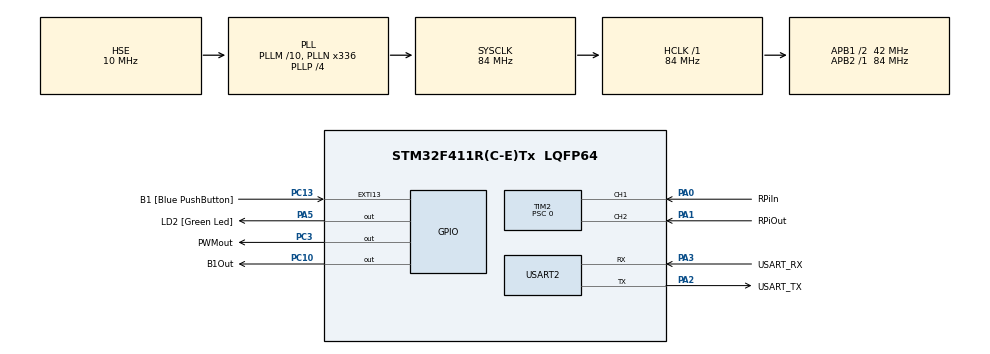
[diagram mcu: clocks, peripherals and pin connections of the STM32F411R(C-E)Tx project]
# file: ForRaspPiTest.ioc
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FREERTOS.Tasks01=defaultTask,24,128,StartDefaultTask,Default,NULL,Dynamic,NULL,NULL
FREERTOS.configENABLE_FPU=1
Mcu.Family=STM32F4
Mcu.Name=STM32F411R(C-E)Tx
Mcu.Package=LQFP64
NVIC.EXTI15_10_IRQn=true\:5\:0\:false\:false\:true\:true\:true\:true
NVIC.PriorityGroup=NVIC_PRIORITYGROUP_4
NVIC.TIM1_TRG_COM_TIM11_IRQn=true\:5\:0\:false\:false\:true\:true\:false\:true
NVIC.TIM2_IRQn=true\:5\:0\:false\:false\:true\:true\:true\:true
NVIC.TimeBase=TIM1_TRG_COM_TIM11_IRQn
NVIC.TimeBaseIP=TIM11
PA0-WKUP.GPIO_Label=RPiIn
PA0-WKUP.Signal=S_TIM2_CH1_ETR
PA1.GPIO_Label=RPiOut
PA1.Signal=S_TIM2_CH2
PA13.GPIO_Label=TMS
PA13.Mode=Serial_Wire
PA13.Signal=SYS_JTMS-SWDIO
PA14.GPIO_Label=TCK
PA14.Mode=Serial_Wire
PA14.Signal=SYS_JTCK-SWCLK
PA2.GPIO_Label=USART_TX
PA2.Mode=Asynchronous
PA2.Signal=USART2_TX
PA3.GPIO_Label=USART_RX
PA3.Mode=Asynchronous
PA3.Signal=USART2_RX
PA5.GPIO_Label=LD2 [Green Led]
PA5.Signal=GPIO_Output
PB3.GPIO_Label=SWO
PB3.Signal=SYS_JTDO-SWO
PC10.GPIO_Label=B1Out
PC10.PinState=GPIO_PIN_RESET
PC10.Signal=GPIO_Output
PC13-ANTI_TAMP.GPIO_Label=B1 [Blue PushButton]
PC13-ANTI_TAMP.GPIO_ModeDefaultEXTI=GPIO_MODE_IT_FALLING
PC13-ANTI_TAMP.Signal=GPXTI13
PC14-OSC32_IN.Mode=LSE-External-Oscillator
PC14-OSC32_IN.Signal=RCC_OSC32_IN
PC15-OSC32_OUT.Mode=LSE-External-Oscillator
PC15-OSC32_OUT.Signal=RCC_OSC32_OUT
PC3.GPIO_Label=PWMout
PC3.Signal=GPIO_Output
PH0\ -\ OSC_IN.Mode=HSE-External-Oscillator
PH0\ -\ OSC_IN.Signal=RCC_OSC_IN
PH1\ -\ OSC_OUT.Mode=HSE-External-Oscillator
PH1\ -\ OSC_OUT.Signal=RCC_OSC_OUT
ProjectManager.HeapSize=0x200
ProjectManager.StackSize=0x400
ProjectManager.TargetToolchain=STM32CubeIDE
RCC.48MHZClocksFreq_Value=84000000
RCC.AHBFreq_Value=84000000
RCC.APB1CLKDivider=RCC_HCLK_DIV2
RCC.APB1Freq_Value=42000000
RCC.APB1TimFreq_Value=84000000
RCC.APB2Freq_Value=84000000
RCC.APB2TimFreq_Value=84000000
RCC.CortexFreq_Value=84000000
RCC.FLatency-AdvancedSettings=FLASH_LATENCY_2
RCC.HCLKFreq_Value=84000000
RCC.HSE_VALUE=10000000
RCC.HSI_VALUE=16000000
RCC.PLLM=10
RCC.PLLN=336
RCC.PLLP=RCC_PLLP_DIV4
RCC.PLLSourceVirtual=RCC_PLLSOURCE_HSE
RCC.SYSCLKFreq_VALUE=84000000
RCC.SYSCLKSource=RCC_SYSCLKSOURCE_PLLCLK
RCC.VCOOutputFreq_Value=336000000
SH.S_TIM2_CH1_ETR.0=TIM2_CH1,Input_Capture1_from_TI1
SH.S_TIM2_CH2.0=TIM2_CH2,Input_Capture2_from_TI2
TIM2.Channel-Input_Capture1_from_TI1=TIM_CHANNEL_1
TIM2.Channel-Input_Capture2_from_TI2=TIM_CHANNEL_2
TIM2.ICFilter_CH1=15
TIM2.ICFilter_CH2=15
TIM2.ICPolarity_CH1=TIM_INPUTCHANNELPOLARITY_BOTHEDGE
TIM2.ICPolarity_CH2=TIM_INPUTCHANNELPOLARITY_BOTHEDGE
TIM2.Prescaler=0
USART2.VirtualMode=VM_ASYNC
VP_FREERTOS_VS_CMSIS_V2.Mode=CMSIS_V2
VP_SYS_VS_tim11.Mode=TIM11
VP_TIM2_VS_ClockSourceINT.Mode=Internal
board=NUCLEO-F411RE

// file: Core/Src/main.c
/* USER CODE BEGIN Header */
/**
  ******************************************************************************
  * @file           : main.c
  * @brief          : Main program body
  ******************************************************************************
  * @attention
  *
  * <h2><center>&copy; Copyright (c) 2021 STMicroelectronics.
  * All rights reserved.</center></h2>
  *
  * This software component is licensed by ST under BSD 3-Clause license,
  * the "License"; You may not use this file except in compliance with the
  * License. You may obtain a copy of the License at:
  *                        opensource.org/licenses/BSD-3-Clause
  *
  ******************************************************************************
  */
/* USER CODE END Header */
#include "main.h"
#include "cmsis_os.h"
#include "Math.h"

/* USER CODE BEGIN PD */
#define CHATA_REMOVE_TIME 10

/* USER CODE END PD */

TIM_HandleTypeDef htim2;

UART_HandleTypeDef huart2;

/* Definitions for defaultTask */
osThreadId_t defaultTaskHandle;
const osThreadAttr_t defaultTask_attributes = {
  .name = "defaultTask",
  .stack_size = 128 * 4,
  .priority = (osPriority_t) osPriorityNormal,
};
/* USER CODE BEGIN PV */
uint8_t b1ChataRemoveCount;
uint32_t startTime;
uint32_t endTime;
#define MEASURE_COUNT_MAX 100
double responseTime[MEASURE_COUNT_MAX];
double responseTimeSum;
double responseTimeAvg;
uint8_t measureCount;

double responseTimeSigma;

/* USER CODE END PV */

void SystemClock_Config(void);
static void MX_GPIO_Init(void);
static void MX_USART2_UART_Init(void);
static void MX_TIM2_Init(void);
void StartDefaultTask(void *argument);

int main(void)
{

  /* MCU Configuration--------------------------------------------------------*/

  /* Reset of all peripherals, Initializes the Flash interface and the Systick. */
  HAL_Init();

  /* Configure the system clock */
  SystemClock_Config();

  /* Initialize all configured peripherals */
  MX_GPIO_Init();
  MX_USART2_UART_Init();
  MX_TIM2_Init();
  /* USER CODE BEGIN 2 */
  b1ChataRemoveCount = 0;
  measureCount = 0;
  responseTimeSum = 0;

  HAL_TIM_IC_Start_IT(&htim2, TIM_CHANNEL_1);
  HAL_TIM_IC_Start_IT(&htim2, TIM_CHANNEL_2);

  /* USER CODE END 2 */

  /* Init scheduler */
  osKernelInitialize();

  /* Create the thread(s) */
  /* creation of defaultTask */
  defaultTaskHandle = osThreadNew(StartDefaultTask, NULL, &defaultTask_attributes);

  /* Start scheduler */
  osKernelStart();

  /* We should never get here as control is now taken by the scheduler */
  /* Infinite loop */
  while (1)
  {

  }
}

void SystemClock_Config(void)
{
  RCC_OscInitTypeDef RCC_OscInitStruct = {0};
  RCC_ClkInitTypeDef RCC_ClkInitStruct = {0};

  /** Configure the main internal regulator output voltage
  */
  __HAL_RCC_PWR_CLK_ENABLE();
  __HAL_PWR_VOLTAGESCALING_CONFIG(PWR_REGULATOR_VOLTAGE_SCALE1);
  /** Initializes the RCC Oscillators according to the specified parameters
  * in the RCC_OscInitTypeDef structure.
  */
  RCC_OscInitStruct.OscillatorType = RCC_OSCILLATORTYPE_HSE;
  RCC_OscInitStruct.HSEState = RCC_HSE_ON;
  RCC_OscInitStruct.PLL.PLLState = RCC_PLL_ON;
  RCC_OscInitStruct.PLL.PLLSource = RCC_PLLSOURCE_HSE;
  RCC_OscInitStruct.PLL.PLLM = 10;
  RCC_OscInitStruct.PLL.PLLN = 336;
  RCC_OscInitStruct.PLL.PLLP = RCC_PLLP_DIV4;
  RCC_OscInitStruct.PLL.PLLQ = 4;
  if (HAL_RCC_OscConfig(&RCC_OscInitStruct) != HAL_OK)
  {
    Error_Handler();
  }
  /** Initializes the CPU, AHB and APB buses clocks
  */
  RCC_ClkInitStruct.ClockType = RCC_CLOCKTYPE_HCLK|RCC_CLOCKTYPE_SYSCLK
                              |RCC_CLOCKTYPE_PCLK1|RCC_CLOCKTYPE_PCLK2;
  RCC_ClkInitStruct.SYSCLKSource = RCC_SYSCLKSOURCE_PLLCLK;
  RCC_ClkInitStruct.AHBCLKDivider = RCC_SYSCLK_DIV1;
  RCC_ClkInitStruct.APB1CLKDivider = RCC_HCLK_DIV2;
  RCC_ClkInitStruct.APB2CLKDivider = RCC_HCLK_DIV1;

  if (HAL_RCC_ClockConfig(&RCC_ClkInitStruct, FLASH_LATENCY_2) != HAL_OK)
  {
    Error_Handler();
  }
}

static void MX_TIM2_Init(void)
{

  TIM_ClockConfigTypeDef sClockSourceConfig = {0};
  TIM_MasterConfigTypeDef sMasterConfig = {0};
  TIM_IC_InitTypeDef sConfigIC = {0};

  htim2.Instance = TIM2;
  htim2.Init.Prescaler = 0;
  htim2.Init.CounterMode = TIM_COUNTERMODE_UP;
  htim2.Init.Period = 4294967295;
  htim2.Init.ClockDivision = TIM_CLOCKDIVISION_DIV1;
  htim2.Init.AutoReloadPreload = TIM_AUTORELOAD_PRELOAD_DISABLE;
  if (HAL_TIM_Base_Init(&htim2) != HAL_OK)
  {
    Error_Handler();
  }
  sClockSourceConfig.ClockSource = TIM_CLOCKSOURCE_INTERNAL;
  if (HAL_TIM_ConfigClockSource(&htim2, &sClockSourceConfig) != HAL_OK)
  {
    Error_Handler();
  }
  if (HAL_TIM_IC_Init(&htim2) != HAL_OK)
  {
    Error_Handler();
  }
  sMasterConfig.MasterOutputTrigger = TIM_TRGO_RESET;
  sMasterConfig.MasterSlaveMode = TIM_MASTERSLAVEMODE_DISABLE;
  if (HAL_TIMEx_MasterConfigSynchronization(&htim2, &sMasterConfig) != HAL_OK)
  {
    Error_Handler();
  }
  sConfigIC.ICPolarity = TIM_INPUTCHANNELPOLARITY_BOTHEDGE;
  sConfigIC.ICSelection = TIM_ICSELECTION_DIRECTTI;
  sConfigIC.ICPrescaler = TIM_ICPSC_DIV1;
  sConfigIC.ICFilter = 15;
  if (HAL_TIM_IC_ConfigChannel(&htim2, &sConfigIC, TIM_CHANNEL_1) != HAL_OK)
  {
    Error_Handler();
  }
  if (HAL_TIM_IC_ConfigChannel(&htim2, &sConfigIC, TIM_CHANNEL_2) != HAL_OK)
  {
    Error_Handler();
  }

}

static void MX_USART2_UART_Init(void)
{

  huart2.Instance = USART2;
  huart2.Init.BaudRate = 115200;
  huart2.Init.WordLength = UART_WORDLENGTH_8B;
  huart2.Init.StopBits = UART_STOPBITS_1;
  huart2.Init.Parity = UART_PARITY_NONE;
  huart2.Init.Mode = UART_MODE_TX_RX;
  huart2.Init.HwFlowCtl = UART_HWCONTROL_NONE;
  huart2.Init.OverSampling = UART_OVERSAMPLING_16;
  if (HAL_UART_Init(&huart2) != HAL_OK)
  {
    Error_Handler();
  }

}

static void MX_GPIO_Init(void)
{
  GPIO_InitTypeDef GPIO_InitStruct = {0};

  /* GPIO Ports Clock Enable */
  __HAL_RCC_GPIOC_CLK_ENABLE();
  __HAL_RCC_GPIOH_CLK_ENABLE();
  __HAL_RCC_GPIOA_CLK_ENABLE();
  __HAL_RCC_GPIOB_CLK_ENABLE();

  /*Configure GPIO pin Output Level */
  HAL_GPIO_WritePin(GPIOC, PWMout_Pin|B1Out_Pin, GPIO_PIN_RESET);

  /*Configure GPIO pin Output Level */
  HAL_GPIO_WritePin(LD2_GPIO_Port, LD2_Pin, GPIO_PIN_RESET);

  /*Configure GPIO pin : B1_Pin */
  GPIO_InitStruct.Pin = B1_Pin;
  GPIO_InitStruct.Mode = GPIO_MODE_IT_FALLING;
  GPIO_InitStruct.Pull = GPIO_NOPULL;
  HAL_GPIO_Init(B1_GPIO_Port, &GPIO_InitStruct);

  /*Configure GPIO pins : PWMout_Pin B1Out_Pin */
  GPIO_InitStruct.Pin = PWMout_Pin|B1Out_Pin;
  GPIO_InitStruct.Mode = GPIO_MODE_OUTPUT_PP;
  GPIO_InitStruct.Pull = GPIO_NOPULL;
  GPIO_InitStruct.Speed = GPIO_SPEED_FREQ_LOW;
  HAL_GPIO_Init(GPIOC, &GPIO_InitStruct);

  /*Configure GPIO pin : LD2_Pin */
  GPIO_InitStruct.Pin = LD2_Pin;
  GPIO_InitStruct.Mode = GPIO_MODE_OUTPUT_PP;
  GPIO_InitStruct.Pull = GPIO_NOPULL;
  GPIO_InitStruct.Speed = GPIO_SPEED_FREQ_LOW;
  HAL_GPIO_Init(LD2_GPIO_Port, &GPIO_InitStruct);

  /* EXTI interrupt init*/
  HAL_NVIC_SetPriority(EXTI15_10_IRQn, 5, 0);
  HAL_NVIC_EnableIRQ(EXTI15_10_IRQn);

}

/* USER CODE BEGIN 4 */
void HAL_GPIO_EXTI_Callback(uint16_t GPIO_Pin)
{
	switch(GPIO_Pin)
	{
	case B1_Pin:
		b1ChataRemoveCount = CHATA_REMOVE_TIME;
		break;
	default:
		break;
	}
}

void HAL_TIM_IC_CaptureCallback(TIM_HandleTypeDef *htim)
{
	double responseTimeSigmaSum;
	uint8_t x;

	if(htim->Instance == TIM2)
	{
		switch(htim->Channel)
		{
		case HAL_TIM_ACTIVE_CHANNEL_1:
			startTime = HAL_TIM_ReadCapturedValue(htim, TIM_CHANNEL_1);
			break;
		case HAL_TIM_ACTIVE_CHANNEL_2:
			endTime = HAL_TIM_ReadCapturedValue(htim, TIM_CHANNEL_2);
			if(measureCount < MEASURE_COUNT_MAX)
			{
				responseTime[measureCount] = (double)(endTime - startTime) / 84;
				responseTimeSum += responseTime[measureCount];
				responseTimeAvg = responseTimeSum / ++measureCount;

				responseTimeSigmaSum = 0;
				for(x = 0; x < measureCount; x++)
				{
					responseTimeSigmaSum += pow((responseTime[x] - responseTimeAvg), 2);
				}
				responseTimeSigma = pow((responseTimeSigmaSum / measureCount), 0.5);
			}
			break;
		default:
			break;
		}
	}
}

/* USER CODE END 4 */

void StartDefaultTask(void *argument)
{
  /* USER CODE BEGIN 5 */
  /* Infinite loop */
  for(;;)
  {
	if(b1ChataRemoveCount > 0)
	{
		if(HAL_GPIO_ReadPin(B1_GPIO_Port, B1_Pin) == GPIO_PIN_RESET)
		{
			if(--b1ChataRemoveCount == 0)
			{
				HAL_GPIO_TogglePin(B1Out_GPIO_Port, B1Out_Pin);
				HAL_GPIO_TogglePin(LD2_GPIO_Port, LD2_Pin);
			}
		}
		else
		{
			b1ChataRemoveCount = 0;
		}
	}
	HAL_GPIO_TogglePin(PWMout_GPIO_Port, PWMout_Pin);
    osDelay(1);
  }
  /* USER CODE END 5 */
}

 /**
  * @brief  Period elapsed callback in non blocking mode
  * @note   This function is called  when TIM11 interrupt took place, inside
  * HAL_TIM_IRQHandler(). It makes a direct call to HAL_IncTick() to increment
  * a global variable "uwTick" used as application time base.
  * @param  htim : TIM handle
  * @retval None
  */
void HAL_TIM_PeriodElapsedCallback(TIM_HandleTypeDef *htim)
{
  if (htim->Instance == TIM11) {
    HAL_IncTick();
  }
}

void Error_Handler(void)
{
  __disable_irq();
  while (1)
  {
  }
}

/************************ (C) COPYRIGHT STMicroelectronics *****END OF FILE****/
